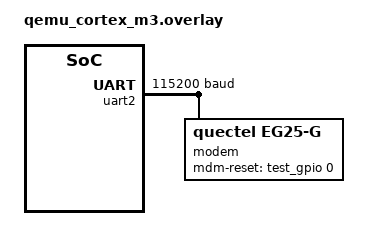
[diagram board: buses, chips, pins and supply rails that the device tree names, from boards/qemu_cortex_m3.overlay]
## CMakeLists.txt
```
# SPDX-License-Identifier: Apache-2.0

cmake_minimum_required(VERSION 3.20.0)

find_package(Zephyr REQUIRED HINTS $ENV{ZEPHYR_BASE})
project(hello_world)

target_sources(app PRIVATE 
  src/main.c
  src/mqtt.c
  src/FIFO.c
)
```

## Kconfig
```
# Copyright (c) 2025
# SPDX-License-Identifier: Apache-2.0

mainmenu "Modem Test Application Configuration"

source "Kconfig.zephyr"

config MQTT_MOCK_MODE
	bool "Enable MQTT mock mode for testing"
	default n
	help
	  Enable MQTT mock mode for testing payload validation without
	  actual network connection to MQTT broker. When enabled, the
	  application will skip actual MQTT connection and simulate
	  successful connection for testing purposes.
```

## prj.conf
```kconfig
# nothing here
CONFIG_UART_CONSOLE=y
CONFIG_RTT_CONSOLE=n
CONFIG_UART_CONSOLE=y
CONFIG_SERIAL=y

CONFIG_UART_INTERRUPT_DRIVEN=y
CONFIG_LOG=y
CONFIG_LOG_MODE_IMMEDIATE=y

CONFIG_MODEM=y
CONFIG_MODEM_CELLULAR=y
CONFIG_PM_DEVICE=y

# Debug Levels for Modem (reduced to save memory)
CONFIG_MODEM_LOG_LEVEL_INF=y
CONFIG_MODEM_MODULES_LOG_LEVEL_INF=y
CONFIG_MODEM_CELLULAR_CHAT_BUFFER_SIZES=512
CONFIG_MODEM_CONTEXT=y
CONFIG_MODEM_IFACE_UART=y

#########################################
# DNS Configuration
#########################################
CONFIG_DNS_RESOLVER=y
CONFIG_NET_L2_PPP_OPTION_DNS_USE=y

#########################################
# Network Management
#########################################
CONFIG_NET_MGMT=y
CONFIG_NET_MGMT_EVENT=y
CONFIG_NET_CONNECTION_MANAGER=y

# Enable detailed network debug logging
CONFIG_NET_LOG=y
CONFIG_NET_STATISTICS=y


CONFIG_NETWORKING=y
CONFIG_NET_NATIVE=y
CONFIG_NET_L2_PPP=y
CONFIG_NET_L2_PPP_TIMEOUT=10000
CONFIG_NET_IPV4=y
CONFIG_NET_TCP=y
CONFIG_NET_SOCKETS=y

CONFIG_HTTP_CLIENT=y
CONFIG_MQTT_KEEPALIVE=120

# Network Buffers
CONFIG_NET_BUF_RX_COUNT=16
CONFIG_NET_BUF_VARIABLE_DATA_SIZE=y
# CONFIG_NET_BUF_DATA_POOL_SIZE=1024
CONFIG_NET_PKT_RX_COUNT=16

CONFIG_MQTT_LIB=y

# Enable MQTT mock mode for testing payload validation without actual network connection
CONFIG_MQTT_MOCK_MODE=y

CONFIG_NET_BUF_FIXED_DATA_SIZE=y
# CONFIG_NET_BUF_DATA_SIZE=512

# CONFIG_MAIN_STACK_SIZE=10240
# CONFIG_SYSTEM_WORKQUEUE_STACK_SIZE=4096
# Optional Modem Debugging
# CONFIG_MODEM_CMUX_LOG_LEVEL_DBG=y
# CONFIG_MODEM_STATS=y

# CONFIG_MODEM_CELLULAR_CMUX_MAX_FRAME_SIZE=256

CONFIG_PM_DEVICE=y
CONFIG_MODEM_MODULES_LOG_LEVEL_DBG=y
CONFIG_MODEM_LOG_LEVEL_DBG=y
CONFIG_MAIN_STACK_SIZE=2048
CONFIG_SYSTEM_WORKQUEUE_STACK_SIZE=4096
CONFIG_NET_RX_STACK_SIZE=2048
CONFIG_NET_TX_STACK_SIZE=2048

# CONFIG_CBPRINTF_FP_SUPPORT=y


CONFIG_ENTROPY_GENERATOR=y
CONFIG_TEST_RANDOM_GENERATOR=y
CONFIG_GPIO=y
CONFIG_SERIAL=y
CONFIG_MODEM=y
CONFIG_NETWORKING=y
CONFIG_NET_L2_PPP=y
CONFIG_PM_DEVICE=y
CONFIG_MODEM_CELLULAR_APN="internet"
CONFIG_MODEM_CELLULAR=y
CONFIG_RTC=y
# JSON Library
CONFIG_JSON_LIBRARY=y

# GNSS Configuration
CONFIG_GNSS=y
CONFIG_GNSS_SATELLITES=y
CONFIG_GNSS_NMEA0183=y
CONFIG_GNSS_NMEA0183_MATCH=y

# IPCP debug logs (commented to save memory)
# CONFIG_NET_IPV4_LOG_LEVEL_DBG=y

# PPP L2 and state machine debug logs (enabled for debugging)
CONFIG_NET_L2_PPP_LOG_LEVEL_DBG=y

# Enable additional debugging
# CONFIG_DEBUG=y
# CONFIG_DEBUG_INFO=y
CONFIG_NET_IF_MAX_IPV4_COUNT=2
CONFIG_NET_IF_MAX_IPV6_COUNT=2

# CONFIG_DUAL_SIM=y

# Disable ethernet to ensure PPP gets the network assignment
# CONFIG_ETH_NATIVE_POSIX=n
# CONFIG_NET_L2_ETHERNET=n

# Additional stack safety configurations
# CONFIG_STACK_SENTINEL=y
# CONFIG_ISR_STACK_SIZE=4096

# Memory configurations
# CONFIG_HEAP_MEM_POOL_SIZE=8192


CONFIG_MODEM=y
CONFIG_MODEM_PPP=y
CONFIG_NET_L2_PPP=y
# CONFIG_NET_L2_PPP_MTU=1500
CONFIG_NET_CONFIG_NEED_IPV4=y
CONFIG_NET_CONFIG_AUTO_INIT=y
CONFIG_NET_IPV4=y
CONFIG_NET_TCP=y
CONFIG_NET_UDP=y
CONFIG_NET_SOCKETS=y
CONFIG_NET_SOCKETS_POSIX_NAMES=y
CONFIG_NET_CONFIG_MY_IPV4_GW="192.0.2.2"
```

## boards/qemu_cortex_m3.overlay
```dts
/ {
    aliases {
        modemuart = &uart0;
        modem = &modem;
        gpio0 = &gpio0;
    };
};

/ {
    test {
        #address-cells = <1>;
        #size-cells = <1>;

        test_gpio: gpio@deadbeef {
            compatible = "vnd,gpio";
            gpio-controller;
            reg = <0xdeadbeef 0x1000>;
            #gpio-cells = <0x2>;
            status = "okay";
        };

    };
};
&uart2 {
    // compatible = "nordic,nrf-uarte";
    status = "okay";
    current-speed = <115200>;
    modem: modem {
        compatible = "quectel,eg25-g";
        // mdm-power-gpios = 12;
        mdm-reset-gpios = <&test_gpio 0 0>;
        status = "okay";
    };
};
```

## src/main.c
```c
#include <zephyr/kernel.h>
#include <zephyr/drivers/uart.h>
#include <string.h>
#include <zephyr/drivers/cellular.h>
#include <zephyr/modem/chat.h>
#include <zephyr/pm/device.h>
#include <string.h>
#include <inttypes.h>
#include <stdio.h>
#include <zephyr/kernel.h>
#include <zephyr/device.h>
#include <zephyr/logging/log.h>
#include <zephyr/kernel.h>
#include <zephyr/net/dns_resolve.h>
#include <zephyr/net/net_if.h>
#include <zephyr/net/socket.h>
#include <zephyr/drivers/uart.h>
#include <zephyr/kernel.h>
#include <zephyr/modem/chat.h>

#include <string.h>
#include <zephyr/device.h>
#include <zephyr/drivers/cellular.h>

#include <zephyr/drivers/gpio.h>
#include <zephyr/kernel.h>
#include <zephyr/net/dns_resolve.h>
#include <zephyr/net/net_if.h>
#include <zephyr/net/socket.h>
#include <zephyr/pm/device.h>
#include <zephyr/pm/device_runtime.h>

#include <zephyr/drivers/uart.h>
#include <zephyr/kernel.h>
#include <zephyr/modem/chat.h>

#include <inttypes.h>
#include <stdio.h>

#include <zephyr/device.h>
#include <zephyr/drivers/gpio.h>
#include <zephyr/drivers/uart.h>
#include <zephyr/kernel.h>
#include <zephyr/pm/device.h>
#include <zephyr/sys/poweroff.h>
#include <zephyr/sys/util.h>
#include <zephyr/net/net_mgmt.h>
#include <zephyr/net/net_event.h>
#include <zephyr/net/conn_mgr_monitor.h>
#include <zephyr/drivers/gnss.h>
#include "C:\Users\NSameh\Desktop\zephyr\ncs-2.7.0\zephyr\samples\modem_test\src\mqtt.h"
#include "FIFO.h"

LOG_MODULE_REGISTER(main);
#define CONFIG_CYSEAL 1
#define CONFIG_DUAL_SIM 1

char pub_topic[80];
char sub_topic[200];
int16_t rssi;
char ICCID[25];
char IMEI[20];


const struct device *modem = DEVICE_DT_GET(DT_ALIAS(modem));

#define UART_DEVICE_NODE DT_NODELABEL(uart2)
const struct device *uart1_dev = DEVICE_DT_GET(UART_DEVICE_NODE);

#define CMD_BUFFER_LEN 64

uint32_t raised_event;
const void *info;
size_t info_len;

char URL_sub[102] =
    "https://beyti.cypod.solutions:5000/device/configurations?IMEI=";
char ota_update_url[65] = "https://beyti.cypod.solutions:5000/remote/update/";
char URL_len[20];
uint16_t URL_len_len;
bool OTAupdate = false;
const struct device *gpio1;
const struct device *gpio_device;
struct device *flash_dev;
 unsigned long clockUnix;
char IMEI[20];
uint8_t simSelect = 0;
extern uint8_t simMode[11];

/* GNSS Configuration */
#define NO_OF_GNSS_FIXES 3
#define LTF 10  /* Live tracking frequency */

static bool self_test_flag = false;
static bool liveTracking = false;
static bool GPS_modem_status = false;
static uint8_t LBSselect = 0;

static K_SEM_DEFINE(gnss_sem, 0, 1);
static K_SEM_DEFINE(sleep_sem, 0, 1);
static K_TIMER_DEFINE(gps_timer_suspend, NULL, NULL);

/* GNSS device - will be initialized if available */
const struct device *gnss_dev = NULL;
#define GNSS_MODEM gnss_dev


static void update_imei_and_topics(void) {
  char buffer[64];

  if (cellular_get_modem_info(modem, CELLULAR_MODEM_INFO_IMEI, buffer,
                              sizeof(buffer))) {
    LOG_ERR("Failed to get IMEI");
    return;
  }

  /* Copy IMEI safely */
  strncpy(IMEI, buffer, sizeof(IMEI) - 1);
  IMEI[sizeof(IMEI) - 1] = '\0';

//   flashSaveIMEI();
  get_mqtt_pub_topic(buffer, pub_topic);

  /* Build sub_topic in one go */
  snprintf(sub_topic, sizeof(sub_topic), "SUB/%s", IMEI);

  LOG_INF("IMEI: %s", IMEI);
  LOG_INF("Pub Topic: %s", pub_topic);
  LOG_INF("Sub Topic: %s", sub_topic);
}

/* Network event management */
static struct net_mgmt_event_callback net_event_cb;
static K_SEM_DEFINE(l4_connected_sem, 0, 1);

static void net_event_handler(struct net_mgmt_event_callback *cb,
                            uint32_t mgmt_event, struct net_if *iface)
{
    if (mgmt_event == NET_EVENT_L4_CONNECTED) {
        const struct device *dev = net_if_get_device(iface);
        const char *dev_name = dev ? dev->name : "unknown";
        
        LOG_INF("NET_EVENT_L4_CONNECTED received from interface: %s", dev_name);
        
        /* Only accept L4_CONNECTED from cellular/PPP interfaces, not loopback or others */
        if (strstr(dev_name, "ppp") != NULL || strstr(dev_name, "cellular") != NULL || 
            strstr(dev_name, "modem") != NULL) {
            LOG_INF("*** NET_EVENT_L4_CONNECTED from cellular modem! ***");
            k_sem_give(&l4_connected_sem);
        } else {
            LOG_INF("Ignoring L4_CONNECTED from non-cellular interface: %s", dev_name);
        }
    } else {
        LOG_DBG("Network event: 0x%08x on interface %p", mgmt_event, (void*)iface);
    }
}


void parseConfig(char *config) {
    printk("Config: %s\n", config);
}

static void write_message_to_queue(const char *msg) {
    LOG_INF("Test message: %s", msg);
}

static void logBatteryVoltage(void) {
    LOG_INF("Battery logging not implemented");
}

static unsigned long gnss_time_to_epoch(const struct gnss_time *time) {
    /* Simple epoch conversion - adjust based on your needs */
    /* This is a simplified version, proper implementation should handle */
    /* leap years, month lengths, etc. */
    unsigned long epoch = 0;
    int year = 2000 + time->century_year;
    
    /* Days since epoch (1970-01-01) */
    int days = (year - 1970) * 365 + (year - 1969) / 4;
    
    /* Add days for months */
    int month_days[] = {0, 31, 28, 31, 30, 31, 30, 31, 31, 30, 31, 30, 31};
    for (int i = 1; i < time->month; i++) {
        days += month_days[i];
    }
    
    /* Add leap day if needed */
    if (time->month > 2 && (year % 4 == 0 && (year % 100 != 0 || year % 400 == 0))) {
        days++;
    }
    
    days += time->month_day - 1;
    
    epoch = days * 86400UL + time->hour * 3600UL + time->minute * 60UL + 
            (time->millisecond / 1000);
    
    return epoch;
}

static void gnss_dump_nav_data2(char *buf, size_t buf_size,
                                const struct navigation_data *nav,
                                uint8_t sat_cnt, uint32_t hdop) {
    int len = 0;
    
    len += snprintf(buf + len, buf_size - len, 
                   "{\"lat\":%.6f,\"lon\":%.6f,\"alt\":%.1f,",
                   (double)nav->latitude / 1000000.0,
                   (double)nav->longitude / 1000000.0,
                   (double)nav->altitude / 1000.0);
    
    len += snprintf(buf + len, buf_size - len,
                   "\"speed\":%.1f,\"bearing\":%.1f,",
                   (double)nav->speed / 1000.0,
                   (double)nav->bearing / 1000.0);
    
    len += snprintf(buf + len, buf_size - len,
                   "\"sat_cnt\":%d,\"hdop\":%u}",
                   sat_cnt, hdop);
}

static void gnss_data_cb(const struct device *dev,
                         const struct gnss_data *data) {
  static uint8_t fixCounter = 0; /* Counter for the number of fixes */

  if (data->info.fix_status != GNSS_FIX_STATUS_NO_FIX) {
    LOG_INF(
        "\r\n ******** Got a fix! %d *********\r\n",
        fixCounter);

    uint8_t sat_cnt = data->info.satellites_cnt;
    uint32_t hdop_acc = data->info.hdop;
    struct gnss_time utc_sat_data = data->utc;
    uint16_t seconds = utc_sat_data.millisecond / 1000;
    uint16_t millis = utc_sat_data.millisecond % 1000;

    LOG_INF("UTC Time: %02d:%02d:%02d.%03d, Date: %02d/%02d/%04d",
            utc_sat_data.hour, utc_sat_data.minute, seconds, millis,
            utc_sat_data.month_day, utc_sat_data.month,
            2000 + utc_sat_data.century_year);

    unsigned long epoch = gnss_time_to_epoch(&utc_sat_data);
    LOG_INF("Epoch Time: %lu.%03d", epoch, millis);

    clockUnix = epoch;

    char buf[1024];
    gnss_dump_nav_data2(buf, sizeof(buf), &data->nav_data, sat_cnt, hdop_acc);
    LOG_INF("%s\r\n", buf);
    if (self_test_flag) {
      write_message_to_queue("GPS OK");
    }

    fixCounter++; /* Increment the fix counter */

    if (liveTracking || fixCounter >= NO_OF_GNSS_FIXES) {
      if (liveTracking && myFifo.noElements > 10)
        return;
      if (liveTracking && !(fixCounter % 60))
        logBatteryVoltage();
      ST_message_t pos;
      pos.idType = Id_Type_CyTrack;
      pos.msgType = Msg_Type_GPS;
      if (!liveTracking) {
        char fields[100];
        bool peek = peekFromFifo(pos.msg);
        printk("position string length = %d\r\n", strlen(pos.msg));
        if (peek && (strlen(pos.msg) < 200)) {
          return_power_status(fields, sizeof(fields));
          add_fields_to_json(pos.msg, fields);
          trimJsonBraces(buf);
          removeFirstField(buf);
          add_fields_to_json(pos.msg, buf);
          overwriteLastMessage(&pos);

        } else {
          pos.msg[0] = '\0';
          strncpy(pos.msg, buf, sizeof(pos.msg) - 1);
          pos.msg[sizeof(pos.msg) - 1] = '\0'; /* Ensure null termination */

          fifoPush(&pos);
        }
        k_sem_give(&gnss_sem);
      } else {
        if (fixCounter % LTF == 0) {
          strncpy(pos.msg, buf, sizeof(pos.msg) - 1);
          pos.msg[sizeof(pos.msg) - 1] = '\0'; /* Ensure null termination */

          fifoPush(&pos); /* Push the message */
        }
      }
      if (!liveTracking && fixCounter >= NO_OF_GNSS_FIXES) {
        /* Reset counter after action */
        fixCounter = 0;

        if (gpio1) {
          gpio_pin_set(gpio1, 0, 0);
          LOG_INF("Switching off the modem pin!\n");
        }
        if (GNSS_MODEM) {
          pm_device_action_run(GNSS_MODEM, PM_DEVICE_ACTION_SUSPEND);
        }
        k_timer_stop(&gps_timer_suspend);
        LBSselect = 0;

        k_sem_give(&sleep_sem);
        GPS_modem_status = false;
      }
    }
  } else {
    /* Reset counter on no fix */
    fixCounter = 0;
  }
}

/* Register GNSS callback - must be at file scope */
GNSS_DATA_CALLBACK_DEFINE(NULL, gnss_data_cb);

void select_sim(uint8_t mode) {
  printk("Selecting SIM %d\r\n", mode);

  if (mode == 1) {
    strcpy(simMode, "AT+QDSIM=1");
    LOG_INF("Physical SIM 1 %s\r\n", simMode);
  } else if (mode == 0) {
    strcpy(simMode, "AT+QDSIM=0");
    LOG_INF("Physical SIM 0 %s\r\n", simMode);
  }
}

int StartModem(void) {
    select_sim(simSelect);
    LOG_INF("Powering on modem\n");
    pm_device_action_run(modem, PM_DEVICE_ACTION_RESUME);

    /* Find PPP iface for event monitoring */
    struct net_if *ppp_iface = net_if_get_first_by_type(&NET_L2_GET_NAME(PPP));
    if (!ppp_iface) {
        LOG_ERR("PPP iface not found");
        return -1;
    }

    net_if_up(ppp_iface);

    LOG_INF("PPP interface found, waiting for cellular connection...");

    LOG_INF("Waiting for L4 connected\n");

    int ret = net_mgmt_event_wait_on_iface(ppp_iface,
                                        NET_EVENT_L4_CONNECTED, &raised_event,
                                        &info, &info_len, K_SECONDS(120));
    if (ret != 0) {
        LOG_INF("L4 was not connected in time\n");
        return -1;
    } else{
      LOG_ERR("HEREEEEEEE!!!!");
        printk("Raised event = %X\n", raised_event);
        // printk("Raised event = %X\n", raised_event);
        if (raised_event == 0xF1140003) {
            printk("Raised event = CONNECTED\n");
            return 0;
        } else if (raised_event == 0xF1140002) {
            printk("Raised event = DISCONNECTED\n");
            return -1;
        }
    }
    return -1;  // Default return if no event matched
}

extern int modem_cellular_clock(const struct device *dev);
extern int modem_cellular_get_lbs_location(const struct device *dev);
extern int ConnectBroker(void);

bool publish_all_fifo_messages(char *pub_topic) {
  char S[256]; // Buffer to store the message
  int len, ret;
  const int MAX_RETRIES = 3;
  bool publishDone = true;

  while (publishDone) {
    S[0] = '\0';       // Clear the buffer
    len = fifoPull(S); // Pull the next message from the FIFO

    if (len <= 0) {
      LOG_INF("No more messages in the FIFO\n");
      break; // Exit loop if no more messages to publish
    }

    int retry_count = 0;
    bool success = false;

    // Retry publishing the message until max retries
    while (retry_count < MAX_RETRIES) {
      if (publish_message(pub_topic, S) == 0) {
        LOG_INF("Published message: %s to topic: %s\n", S, pub_topic);
        ret = process_mqtt_and_sleep(500);

        if (ret == 0) { // Successful publish
          success = true;
          break;
        }
      } else {
        LOG_INF("Failed to publish message: %s. Retrying...\n", S);
        DisconnectBroker();
        ConnectBroker();
        process_mqtt_and_sleep(500); // Wait before retrying
      }
      retry_count++;
    }

    if (!success) {
      LOG_INF("Failed to publish message: %s after %d retries. Aborting...\n",
              S, MAX_RETRIES);
      publishDone = false;
      return false;
    }
  }

  LOG_INF("Published all data\n");
  return true;
}

void ReportMessages(void *p1, void *p2, void *p3) {
  ARG_UNUSED(p1);
  ARG_UNUSED(p2);
  ARG_UNUSED(p3);
  
  while (1) {
    int ret = StartModem();
    if (ret != 0) {
        LOG_ERR("Failed to start modem, ret = %d", ret);
    }
    LOG_ERR("ENDEDDDDD?\?\?\?!");
    modem_cellular_clock(modem);
    modem_cellular_get_lbs_location(modem);
    ret = ConnectBroker();
    if (ret != 0) {
      LOG_ERR("Failed to connect to broker, ret = %d", ret);
    } else {
      LOG_INF("Connected to broker successfully");
    }
    process_mqtt_and_sleep(500);
    publish_all_fifo_messages(pub_topic);
    DisconnectBroker();
    LOG_INF("Disconnected from broker");

  }
}
K_THREAD_STACK_DEFINE(thread_stack, 1024);
struct k_thread report_thread;
int main(void)
{
    LOG_INF("Starting modem test application...");
    
    /* Initialize FIFO */
    fifoInit();
    LOG_INF("FIFO initialized");
    
    /* Initialize GNSS if available */
    gnss_dev = DEVICE_DT_GET_OR_NULL(DT_ALIAS(gnss));
    if (gnss_dev && device_is_ready(gnss_dev)) {
        LOG_INF("GNSS device found: %s", gnss_dev->name);
        LOG_INF("GNSS callback registered via GNSS_DATA_CALLBACK_DEFINE");
    } else {
        LOG_WRN("GNSS device not found or not ready - GNSS features disabled");
        gnss_dev = NULL;
    }
    
    /* Register network event handler */
    net_mgmt_init_event_callback(&net_event_cb, net_event_handler,
                                NET_EVENT_L4_CONNECTED);
    net_mgmt_add_event_callback(&net_event_cb);
    LOG_INF("Network event handler registered");

    /* Start the modem thread */
    k_thread_create(&report_thread, thread_stack,
                    K_THREAD_STACK_SIZEOF(thread_stack), ReportMessages, NULL,
                    NULL, NULL, 4, 0, K_NO_WAIT);

    /* Wait for L4 connectivity */
    LOG_INF("Waiting for L4 connected");
    if (k_sem_take(&l4_connected_sem, K_SECONDS(120)) == 0) {
        LOG_INF("*** SUCCESS: L4_CONNECTED event received! ***");
        LOG_INF("*** Network connectivity established! ***");
        
        /* Optionally try a simple network test */
        struct net_if *iface = net_if_get_default();
        if (iface && net_if_is_up(iface)) {
            LOG_INF("Network interface is UP and ready");
            
            /* Print IP addresses */
            for (int i = 0; i < NET_IF_MAX_IPV4_ADDR; i++) {
                struct net_if_addr *addr = &iface->config.ip.ipv4->unicast[i];
                if (addr->is_used && addr->addr_state == NET_ADDR_PREFERRED) {
                    char ip_str[INET_ADDRSTRLEN];
                    net_addr_ntop(AF_INET, &addr->address.in_addr, 
                                 ip_str, sizeof(ip_str));
                    LOG_INF("IPv4 address: %s", ip_str);
                }
            }
        }
    } else {
        LOG_ERR("*** TIMEOUT: L4_CONNECTED event not received within 120s ***");
        LOG_ERR("*** Network connectivity failed! ***");
    }

    /* Keep running for additional testing */
    while (1) {
        k_sleep(K_MSEC(1000));
    }
    
    return 0;
}
```

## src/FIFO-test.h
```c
// #ifndef FIFO_H
#define FIFOH_H

#include <errno.h>
#include <stdbool.h>
#include <stddef.h>
#include <stdint.h>
#include <stdio.h>
#include <string.h>

#define MQTT_QUEUE_SIZE 16

#define Tag_ID_Length (uint8_t)18
#define Number_Of_Tags_Per_CyTrack (uint8_t)10

// struct device *rtc;
// Enums for message types
typedef enum {
  Msg_Type_CyTag = 0x01,
  Msg_Type_GPS = 0x02,
  Msg_Type_LBS = 0x03,
  Msg_Type_Battery = 0x04,
  Msg_Type_Tamper = 0x05,
  Msg_Type_Undetected_Tag = 0x06,
  Msg_Type_Lock_Feedback = 0x07,
  Msg_Type_ICCID = 0x08,
  Msg_Type_Cellular_Rssi = 0x09,
  Msg_Type_Satcom_Rssi = 0x0A,
  Msg_Type_Jamming = 0x0B,
  Msg_Type_CHRG = 0x0C,
  Msg_Type_ACC = 0x0D,
  Msg_Type_SUB_RECV = 0x0E,
  Msg_Type_MOTION = 0x0F,
  Msg_Type_Mount = 0x10,
  Msg_Type_FMC225 = 0x11
} EN_msgType_t;

// Enums for id types
typedef enum {
  Id_Type_CyLock = 0x01,
  Id_Type_CyTrack = 0x02,
  Id_Type_CyTag = 0x03,
  Id_Type_CyBand = 0x04,
  Id_Type_CyConnect = 0x05
} EN_idType_t;

/****CyTag Event****/
// All bits equal to 0 -> No event
// Bit 0: Temperature Event
// Bit 1: Humididty Event
// Bit 2: Light Event
// Bit 3: In Contact
// Bit 4: Out of Contact

// Macro to set a specific bit in a variable
#define SET_BIT(var, bit) ((var) |= (1 << (bit)))

// Macro to clear a specific bit in a variable
#define CLEAR_BIT(var, bit) ((var) &= ~(1 << (bit)))

// Size of the whole ST_message_t structure is 250 Bytes.
// Fifo Elements is 16. 16*250+5 = 4,005 bytes which can fit in a sector. Sector
// size is 4096 bytes. We store in 375 sectores. 375 * 16 = 6000 messages.

// typedef struct ST_message_t {
//   EN_msgType_t msgType;
//   EN_idType_t idType;
//   char msg[238];
//   unsigned long timeStamp;
// } __attribute__((packed)) ST_message_t;

// FIFO structure
// typedef struct ST_Fifo_t {
//   uint16_t StartPtr; // Pointer to oldest entry or EndPtr if empty
//   uint16_t EndPtr;   // Pointer to next empty place to store a new entry
//   uint8_t noElements;
//   ST_message_t myMsgStruct[MQTT_QUEUE_SIZE];
// } __attribute__((packed)) ST_Fifo_t;

typedef struct {
  char Ble_CyTag_Ids[Number_Of_Tags_Per_CyTrack][Tag_ID_Length];
  uint8_t Skip_Count[Number_Of_Tags_Per_CyTrack];
} __attribute__((packed)) Tags_Info;

typedef struct {
  uint8_t Assigned_Tags_Count;
  Tags_Info Tags_Info;
} __attribute__((packed)) Assigned_Tags;

// void fifoInit(void);
// int8_t fifoPush(ST_message_t *msg);
// uint16_t fifoPull(char *str);

// Assigned_Tags my_Tags;

// unsigned long get_unix_ts(void){
//     return (unsigned long)10101010101;
// }

// #endif
```

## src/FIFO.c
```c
#include "FIFO.h"
#include <zephyr/kernel.h>
#include <zephyr/logging/log.h>

LOG_MODULE_REGISTER(fifo, LOG_LEVEL_INF);

// Global FIFO instance
ST_Fifo_t myFifo;

// Stub functions for flash operations (to be implemented later)
static void writeFifoToFlash(void) {
  LOG_WRN("writeFifoToFlash: Not implemented, skipping flash write");
}

static void getFifoIndex(uint8_t *index) {
  *index = 0;
  LOG_WRN("getFifoIndex: Not implemented, returning 0");
}

static void importFifoFromFlash(void) {
  LOG_WRN("importFifoFromFlash: Not implemented, skipping flash import");
}

void trimJsonBraces(char *str) {
  // Simple implementation - remove first and last char if they're braces
  size_t len = strlen(str);
  if (len >= 2 && str[0] == '{' && str[len-1] == '}') {
    memmove(str, str + 1, len - 2);
    str[len - 2] = '\0';
  }
}

void removeFirstField(char *str) {
  // Find first comma and remove everything before it
  char *comma = strchr(str, ',');
  if (comma) {
    memmove(str, comma + 1, strlen(comma));
  }
}

void add_fields_to_json(char *json, const char *fields) {
  // Simple append with comma
  if (strlen(json) > 0 && json[strlen(json)-1] != ',') {
    strcat(json, ",");
  }
  strcat(json, fields);
}

void return_power_status(char *buffer, size_t size) {
  snprintf(buffer, size, "\"power\":\"OK\"");
}

// Initialize the FIFO structure
void fifoInit(void) {
  // Clear everything
  memset(&myFifo, 0, sizeof(myFifo));
  myFifo.noElements = 0;
}

int8_t fifoPush(ST_message_t *msg) {
  // Check if FIFO is full.
  if (myFifo.noElements >= MQTT_QUEUE_SIZE) {
    return -1; // FIFO is full.
  }

  bool duplicateFound = false;

  // Check for duplicate FMC messages (msgType == Msg_Type_FMC225).
  // It will only work if there was only one FMC.
  // There will be bug if more than one FMC is assigned because it doesn't check IMEI
  for (int i = 0; i < myFifo.noElements; i++) {
    if (  (myFifo.myMsgStruct[i].msgType == Msg_Type_FMC225 &&
            msg->msgType == Msg_Type_FMC225) && 
        (msg->timeStamp - myFifo.myMsgStruct[i].timeStamp < 300)) {

      strcpy(myFifo.myMsgStruct[i].msg, msg->msg); // Override message.
      myFifo.myMsgStruct[i].timeStamp = msg->timeStamp;

      printk("Duplicate FMC, Overriding\r\n");
      duplicateFound = true;

      return 0; // No need to push the new message.
    }

    if ((myFifo.myMsgStruct[i].msgType == 0x01 &&
         msg->msgType == 0x01 &&
        msg->device_index == myFifo.myMsgStruct[i].device_index) &&
        (msg->timeStamp - myFifo.myMsgStruct[i].timeStamp < 300)) {

        strcpy(myFifo.myMsgStruct[i].msg, msg->msg); // Override message.
        myFifo.myMsgStruct[i].timeStamp = msg->timeStamp;

        printk("Duplicate CyTag, Overriding\r\n");
        duplicateFound = true;

        return 0; // No need to push the new message.
    }
  }

  // No duplicate found, push the new message to FIFO.
  memcpy(&myFifo.myMsgStruct[myFifo.EndPtr], msg, sizeof(ST_message_t));
  myFifo.noElements++;

  // Wrap around the EndPtr if needed.
  myFifo.EndPtr = (myFifo.EndPtr + 1) % MQTT_QUEUE_SIZE;

  // Write to flash if FIFO is full.
  if (myFifo.noElements == MQTT_QUEUE_SIZE) {
    writeFifoToFlash();
  }

  return 0; // Successfully pushed the message.
}

uint16_t extractFromFifo(char *str) {
  if (myFifo.noElements == 0) {
    printk("Error: Attempt to extract from an empty FIFO!\n");
    return 0;
  }

  ST_message_t *myM = &myFifo.myMsgStruct[myFifo.StartPtr];
  strcpy(str, myM->msg); // Copy the message.

  uint16_t size = strlen(str);

  // Update FIFO pointers with wrap-around.
  myFifo.StartPtr = (myFifo.StartPtr + 1) % MQTT_QUEUE_SIZE;
  myFifo.noElements--;

  return size;
}

uint16_t peekFromFifo(char *str) {
  if (myFifo.noElements == 0) {
    printk("Error: Attempt to peek from an empty FIFO!\n");
    return 0;
  }

  ST_message_t *myM = &myFifo.myMsgStruct[myFifo.EndPtr - 1];
  strcpy(str, myM->msg); // Copy the message for peeking.

  return strlen(str);
}

int8_t overwriteLastMessage(ST_message_t *msg) {
  if (myFifo.noElements == 0) {
    printk("Error: Attempt to overwrite an empty FIFO!\n");
    return -1;
  }

  // Overwrite the message at the start pointer.
  memcpy(&myFifo.myMsgStruct[myFifo.EndPtr - 1], msg, sizeof(ST_message_t));

  return 0; // Successfully overwritten.
}

uint16_t fifoPull(char *str) {
  str[0] = '\0'; // Initialize with an empty string.
  uint16_t size = 0;

  // Check if data is available in FIFO.
  if (myFifo.noElements > 0) {
    size = extractFromFifo(str);
    return size;
  }

  // If FIFO is empty, attempt to import data from flash.
  uint8_t index;
  getFifoIndex(&index);

  importFifoFromFlash();

  // Recheck FIFO status after import.
  if (myFifo.noElements > 0) {
    size = extractFromFifo(str);
  } else {
    printk("Warning: No elements found in FIFO after flash import.\n");
    return 0;
  }

  return size;
}

extern unsigned long clockUnix;
void push_celltower_msg(char *msg) {
  ST_message_t cell_msg;
  cell_msg.idType = Id_Type_CyTrack;
  cell_msg.msgType = Msg_Type_LBS;
  strcpy(cell_msg.msg, msg);
  fifoPush(&cell_msg);
}

void push_lbs_msg(char *msg) {
  ST_message_t lbs;
  lbs.idType = Id_Type_CyTrack;
  lbs.msgType = Msg_Type_LBS;
  // strcpy(lbs.msg, msg);
  // fifoPush(&lbs);

  bool peek = peekFromFifo(lbs.msg);
  printk("lbs str lrngth = %d\r\n", strlen(lbs.msg));
  if (peek && strlen(lbs.msg) < 200) {
    char lbsField[100];
    strcpy(lbsField, msg);
    trimJsonBraces(lbsField);
    removeFirstField(lbsField);
    add_fields_to_json(lbs.msg, lbsField);
    lbsField[0] = '\0';
    return_power_status(lbsField, sizeof(lbsField));
    add_fields_to_json(lbs.msg, lbsField);

    overwriteLastMessage(&lbs);
  } else {
    lbs.msg[0] = '\0';
    strcpy(lbs.msg, msg);
    fifoPush(&lbs);
  }
}
```

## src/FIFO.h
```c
#ifndef FIFO_H
#define FIFO_H

#include <errno.h>
#include <stdbool.h>
#include <stddef.h>
#include <stdint.h>
#include <stdio.h>
#include <string.h>

#define MQTT_QUEUE_SIZE 16

#define Tag_ID_Length (uint8_t)18
#define Number_Of_Tags_Per_CyTrack (uint8_t)10

// Enums for message types
typedef enum {
  Msg_Type_CyTag = 0x01,
  Msg_Type_GPS = 0x02,
  Msg_Type_LBS = 0x03,
  Msg_Type_Battery = 0x04,
  Msg_Type_Tamper = 0x05,
  Msg_Type_Undetected_Tag = 0x06,
  Msg_Type_Lock_Feedback = 0x07,
  Msg_Type_ICCID = 0x08,
  Msg_Type_Cellular_Rssi = 0x09,
  Msg_Type_Satcom_Rssi = 0x0A,
  Msg_Type_Jamming = 0x0B,
  Msg_Type_CHRG = 0x0C,
  Msg_Type_ACC = 0x0D,
  Msg_Type_SUB_RECV = 0x0E,
  Msg_Type_MOTION = 0x0F,
  Msg_Type_Mount = 0x10,
  Msg_Type_FMC225 = 0x11
} EN_msgType_t;

// Enums for id types
typedef enum {
  Id_Type_CyLock = 0x01,
  Id_Type_CyTrack = 0x02,
  Id_Type_CyTag = 0x03,
  Id_Type_CyBand = 0x04,
  Id_Type_CyConnect = 0x05
} EN_idType_t;

/*CyTag Event*/
// All bits equal to 0 -> No event
// Bit 0: Temperature Event
// Bit 1: Humididty Event
// Bit 2: Light Event
// Bit 3: In Contact
// Bit 4: Out of Contact

// Macro to set a specific bit in a variable
#define SET_BIT(var, bit) ((var) |= (1 << (bit)))

// Macro to clear a specific bit in a variable
#define CLEAR_BIT(var, bit) ((var) &= ~(1 << (bit)))

// Size of the whole ST_message_t structure is 250 Bytes.
// Fifo Elements is 16. 16*250+5 = 4,005 bytes which can fit in a sector. Sector
// size is 4096 bytes. We store in 375 sectores. 375 * 16 = 6000 messages.

typedef struct ST_message_t {
  EN_msgType_t msgType;
  EN_idType_t idType;
  uint8_t device_index;
  char msg[238];
  unsigned long timeStamp;
} __attribute__((packed)) ST_message_t;

// FIFO structure
typedef struct ST_Fifo_t {
  uint16_t StartPtr; // Pointer to oldest entry or EndPtr if empty
  uint16_t EndPtr;   // Pointer to next empty place to store a new entry
  uint8_t noElements;
  ST_message_t myMsgStruct[MQTT_QUEUE_SIZE];
} __attribute__((packed)) ST_Fifo_t;

typedef struct {
  char Ble_CyTag_Ids[Number_Of_Tags_Per_CyTrack][Tag_ID_Length];
  uint8_t Skip_Count[Number_Of_Tags_Per_CyTrack];
} __attribute__((packed)) Tags_Info;

typedef struct {
  uint8_t Assigned_Tags_Count;
  Tags_Info Tags_Info;
} __attribute__((packed)) Assigned_Tags;

/* Global FIFO instance - defined in FIFO.c */
extern ST_Fifo_t myFifo;

/* FIFO operations */
void fifoInit(void);
int8_t fifoPush(ST_message_t *msg);
uint16_t fifoPull(char *str);
uint16_t peekFromFifo(char *str);
int8_t overwriteLastMessage(ST_message_t *msg);

/* JSON helper functions */
void trimJsonBraces(char *str);
void removeFirstField(char *str);
void add_fields_to_json(char *json, const char *fields);
void return_power_status(char *buffer, size_t size);

#endif
```

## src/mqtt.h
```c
// #ifndef CYMQTT_H
// #define CYMQTT_H

// #include "config.h"
#include <zephyr/net/mqtt.h>
#include <zephyr/net/socket.h>
#include <zephyr/random/random.h>

#include <string.h>
#include <zephyr/data/json.h>

#include "FIFO.h" //For Cytags
// #include "PIN_CTRL.h"


#define APP_CONNECT_TIMEOUT_MS 20000
#define APP_SLEEP_MSECS 2000

#define APP_CONNECT_TRIES 5

#define APP_MQTT_BUFFER_SIZE 1024

#define MQTT_CLIENTID "Zephyr"

/* Set the following to 1 to enable the Bluemix topic format */
#define APP_BLUEMIX_TOPIC 0


#define SUCCESS_OR_EXIT(rc)                                                    \
  {                                                                            \
    if (rc != 0) {                                                             \
      return 1;                                                                \
    }                                                                          \
  }
#define SUCCESS_OR_BREAK(rc)                                                   \
  {                                                                            \
    if (rc != 0) {                                                             \
      break;                                                                   \
    }                                                                          \
  }

#define RC_STR(rc) ((rc) == 0 ? "OK" : "ERROR")
#define PRINT_RESULT(func, rc) printk("%s: %d <%s>\n", (func), rc, RC_STR(rc))

int ConnectBroker(void);
int DisconnectBroker(void);

// Wrapper function for mqtt_publish with QoS 0
int publish_message(char *topic, char *payload);

// Wrapper function for mqtt_subscribe with QoS 0
int subscribe_topic(char *topic);

int process_mqtt_and_sleep(int timeout);

int get_mqtt_pub_topic(char *IMEI, char *topic);

#ifdef CONFIG_MQTT_MOCK_MODE
/* Functions to access mock data for testing */
int get_mock_payload_count(void);
const char* get_mock_payload(int index);
void reset_mock_payloads(void);
#endif

// #endif
```
